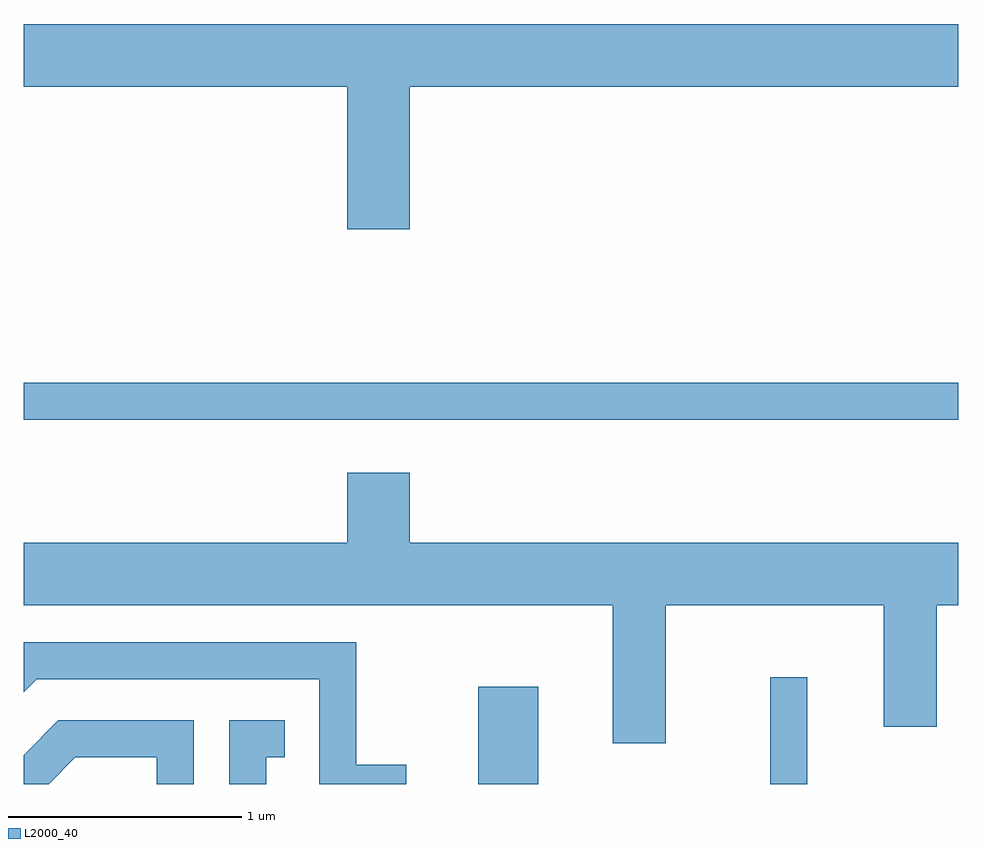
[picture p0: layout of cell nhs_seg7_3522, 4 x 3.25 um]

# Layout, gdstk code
import gdstk
lib = gdstk.Library(unit=1e-6, precision=1e-09)
def R(c, l, rs):  # rectangles x0, y0, x1, y1
    for r in rs: c.add(gdstk.rectangle(r[:2], r[2:], *l))
def P(c, l, *ps):  # polygons
    for p in ps: c.add(gdstk.Polygon(p, *l))
L2000_40 = (2000, 40)

nhs_seg7_3522 = lib.new_cell('nhs_seg7_3522')
R(nhs_seg7_3522, L2000_40, [(295.556,1680.252,295.814,1680.669), (296.806,1680.252,296.964,1680.708), (293.611,1681.811,297.611,1681.969)])
P(nhs_seg7_3522, L2000_40, [(295.264,1683.236),(297.611,1683.236),(297.611,1683.504),(293.611,1683.504),(293.611,1683.236),(294.996,1683.236),(294.996,1682.626),(295.264,1682.626)],
  [(296.359,1681.016),(297.291,1681.016),(297.291,1680.496),(297.519,1680.496),(297.519,1681.016),(297.611,1681.016),(297.611,1681.284),(295.264,1681.284),(295.264,1681.584),(294.996,1681.584),(294.996,1681.284),(293.611,1681.284),(293.611,1681.016),(296.131,1681.016),(296.131,1680.426),(296.359,1680.426)],
  [(295.249,1680.334),(295.034,1680.334),(295.034,1680.859),(293.611,1680.859),(293.611,1680.645),(293.667,1680.701),(294.876,1680.701),(294.876,1680.252),(295.249,1680.252)],
  [(293.832,1680.366),(294.181,1680.366),(294.181,1680.252),(294.339,1680.252),(294.339,1680.524),(293.759,1680.524),(293.611,1680.376),(293.611,1680.252),(293.718,1680.252)],
  [(294.649,1680.366),(294.728,1680.366),(294.728,1680.524),(294.491,1680.524),(294.491,1680.252),(294.649,1680.252)])

lib.write_gds('nhs_seg7_3522.gds')
